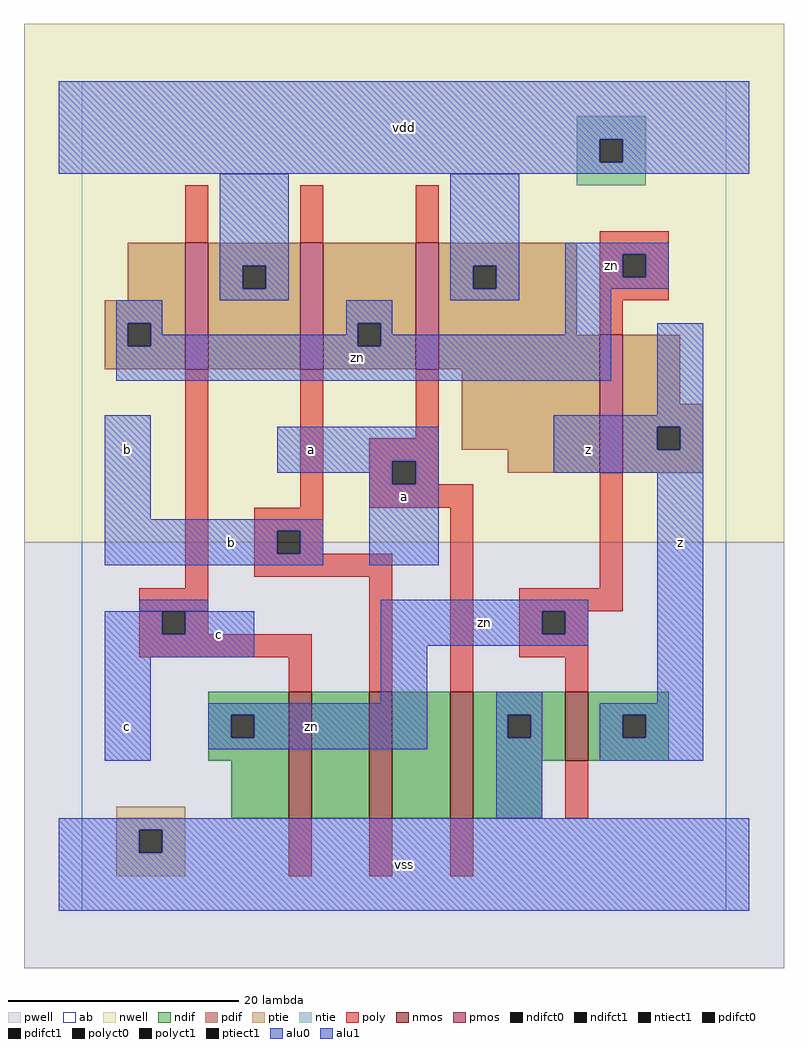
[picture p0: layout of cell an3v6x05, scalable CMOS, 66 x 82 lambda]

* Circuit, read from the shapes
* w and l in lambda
.subckt an3v6x05 a b c vdd vss z zn
M1 n1 c zn vss nfet w=11 l=2
M2 n2 b n1 vss nfet w=11 l=2
M3 vss a n2 vss nfet w=11 l=2
M4 z zn vss vss nfet w=6 l=2
M5 vdd c zn vdd pfet w=11 l=2
M6 zn b vdd vdd pfet w=11 l=2
M7 vdd a zn vdd pfet w=11 l=2
M8 z zn vdd vdd pfet w=12 l=2
.ends

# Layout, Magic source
magic
tech scmos
<< ab >>
rect 0 0 56 72
<< nwell >>
rect -5 32 61 77
<< pwell >>
rect -5 -5 61 32
<< poly >>
rect 9 58 11 63
rect 19 58 21 63
rect 29 58 31 63
rect 45 57 51 59
rect 45 55 47 57
rect 49 55 51 57
rect 45 53 51 55
rect 45 50 47 53
rect 9 28 11 47
rect 19 35 21 47
rect 29 41 31 47
rect 25 39 31 41
rect 25 37 27 39
rect 29 37 31 39
rect 25 35 34 37
rect 15 33 21 35
rect 15 31 17 33
rect 19 31 21 33
rect 15 29 27 31
rect 5 26 11 28
rect 5 24 7 26
rect 9 24 11 26
rect 5 22 20 24
rect 18 19 20 22
rect 25 19 27 29
rect 32 19 34 35
rect 45 28 47 38
rect 38 26 47 28
rect 38 24 40 26
rect 42 24 44 26
rect 38 22 44 24
rect 42 19 44 22
rect 42 8 44 13
rect 18 3 20 8
rect 25 3 27 8
rect 32 3 34 8
<< ndif >>
rect 11 17 18 19
rect 11 15 13 17
rect 15 15 18 17
rect 11 13 18 15
rect 13 8 18 13
rect 20 8 25 19
rect 27 8 32 19
rect 34 17 42 19
rect 34 15 37 17
rect 39 15 42 17
rect 34 13 42 15
rect 44 17 51 19
rect 44 15 47 17
rect 49 15 51 17
rect 44 13 51 15
rect 34 8 40 13
<< pdif >>
rect 4 53 9 58
rect 2 51 9 53
rect 2 49 4 51
rect 6 49 9 51
rect 2 47 9 49
rect 11 56 19 58
rect 11 54 14 56
rect 16 54 19 56
rect 11 47 19 54
rect 21 51 29 58
rect 21 49 24 51
rect 26 49 29 51
rect 21 47 29 49
rect 31 56 43 58
rect 31 54 34 56
rect 36 54 43 56
rect 31 50 43 54
rect 31 47 45 50
rect 33 40 45 47
rect 37 38 45 40
rect 47 44 52 50
rect 47 42 54 44
rect 47 40 50 42
rect 52 40 54 42
rect 47 38 54 40
<< alu1 >>
rect -2 67 58 72
rect -2 65 45 67
rect 47 65 58 67
rect -2 64 58 65
rect 50 43 54 51
rect 2 34 6 43
rect 41 42 54 43
rect 17 39 31 42
rect 17 38 27 39
rect 25 37 27 38
rect 29 37 31 39
rect 41 40 50 42
rect 52 40 54 42
rect 41 38 54 40
rect 2 33 21 34
rect 2 31 17 33
rect 19 31 21 33
rect 2 30 21 31
rect 25 30 31 37
rect 2 24 7 26
rect 9 24 15 26
rect 2 22 15 24
rect 2 13 6 22
rect 50 18 54 38
rect 45 17 54 18
rect 45 15 47 17
rect 49 15 54 17
rect 45 13 54 15
rect -2 7 58 8
rect -2 5 5 7
rect 7 5 58 7
rect -2 0 58 5
<< ptie >>
rect 3 7 9 9
rect 3 5 5 7
rect 7 5 9 7
rect 3 3 9 5
<< ntie >>
rect 43 67 49 69
rect 43 65 45 67
rect 47 65 49 67
rect 43 63 49 65
<< nmos >>
rect 18 8 20 19
rect 25 8 27 19
rect 32 8 34 19
rect 42 13 44 19
<< pmos >>
rect 9 47 11 58
rect 19 47 21 58
rect 29 47 31 58
rect 45 38 47 50
<< polyct0 >>
rect 47 55 49 57
rect 40 24 42 26
<< polyct1 >>
rect 27 37 29 39
rect 17 31 19 33
rect 7 24 9 26
<< ndifct0 >>
rect 13 15 15 17
rect 37 15 39 17
<< ndifct1 >>
rect 47 15 49 17
<< ntiect1 >>
rect 45 65 47 67
<< ptiect1 >>
rect 5 5 7 7
<< pdifct0 >>
rect 4 49 6 51
rect 14 54 16 56
rect 24 49 26 51
rect 34 54 36 56
<< pdifct1 >>
rect 50 40 52 42
<< alu0 >>
rect 12 56 18 64
rect 12 54 14 56
rect 16 54 18 56
rect 12 53 18 54
rect 32 56 38 64
rect 32 54 34 56
rect 36 54 38 56
rect 32 53 38 54
rect 42 57 51 58
rect 42 55 47 57
rect 49 55 51 57
rect 42 54 51 55
rect 3 51 7 53
rect 3 49 4 51
rect 6 50 7 51
rect 23 51 27 53
rect 23 50 24 51
rect 6 49 24 50
rect 26 50 27 51
rect 42 50 46 54
rect 26 49 46 50
rect 3 46 46 49
rect 5 26 11 27
rect 26 26 44 27
rect 26 24 40 26
rect 42 24 44 26
rect 26 23 44 24
rect 26 18 30 23
rect 11 17 30 18
rect 11 15 13 17
rect 15 15 30 17
rect 11 14 30 15
rect 36 17 40 19
rect 36 15 37 17
rect 39 15 40 17
rect 36 8 40 15
<< labels >>
rlabel alu0 20 16 20 16 6 zn
rlabel alu0 35 25 35 25 6 zn
rlabel alu0 24 48 24 48 6 zn
rlabel alu0 46 56 46 56 6 zn
rlabel alu1 4 16 4 16 6 c
rlabel alu1 4 40 4 40 6 b
rlabel alu1 13 32 13 32 6 b
rlabel alu1 12 24 12 24 6 c
rlabel alu1 20 40 20 40 6 a
rlabel alu1 28 4 28 4 6 vss
rlabel alu1 28 36 28 36 6 a
rlabel alu1 28 68 28 68 6 vdd
rlabel alu1 52 32 52 32 6 z
rlabel alu1 44 40 44 40 6 z
<< end >>
